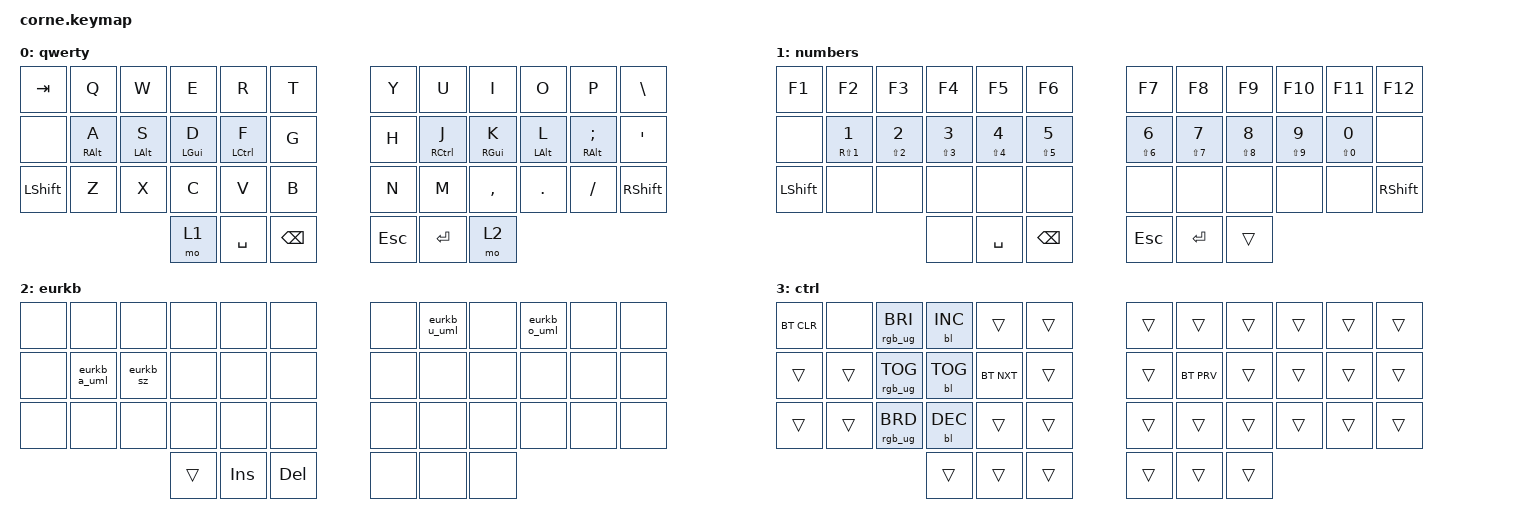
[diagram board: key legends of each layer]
#include <dt-bindings/zmk/mouse.h>
#include <behaviors.dtsi>
#include <dt-bindings/zmk/backlight.h>
#include <dt-bindings/zmk/bt.h>
#include <dt-bindings/zmk/keys.h>
#include <dt-bindings/zmk/rgb.h>

// Configure the under-glow LED strip

&led_strip { chain-length = <27>; };

/ {
    macros {
        eurkb_a_uml: a_uml {
            compatible = "zmk,behavior-macro";
            #binding-cells = <0>;
            bindings = <&macro_press>, <&kp RA(U) &kp A>, <&macro_release>;

            label = "A_UML";
        };

        eurkb_u_uml: eurkb_u_uml {
            compatible = "zmk,behavior-macro";
            #binding-cells = <0>;
            bindings = <&macro_press>, <&kp RA(U) &kp U>, <&macro_release>;

            label = "EURKB_U_UML";
        };

        eurkb_o_uml: eurkb_o_uml {
            compatible = "zmk,behavior-macro";
            #binding-cells = <0>;
            bindings = <&macro_press>, <&kp RA(U) &kp O>, <&macro_release>;

            label = "EURKB_O_UML";
        };

        eurkb_sz: eurkb_sz {
            compatible = "zmk,behavior-macro";
            #binding-cells = <0>;
            bindings = <&macro_press>, <&kp RA(U) &kp S>, <&macro_release>;

            label = "EURKB_SZ";
        };
    };

    keymap {
        compatible = "zmk,keymap";

        default_layer {
            // -----------------------------------------------------------------------------------------
            // |  TAB |  Q  |  W  |  E  |  R  |  T  |   |  Y  |  U   |  I  |  O  |  P  | BKSP |
            // | CTRL |  A  |  S  |  D  |  F  |  G  |   |  H  |  J   |  K  |  L  |  ;  |  '   |
            // | SHFT |  Z  |  X  |  C  |  V  |  B  |   |  N  |  M   |  ,  |  .  |  /  | ESC  |
            //                    | GUI | LWR | SPC |   | ENT | RSE  | ALT |

            label = "qwerty";
            bindings = <
&kp TAB    &kp Q       &kp W           &kp E           &kp R        &kp T            &kp Y    &kp U        &kp I       &kp O       &kp P          &kp BACKSLASH
&none      &mt RALT A  &mt LEFT_ALT S  &mt LEFT_GUI D  &mt LCTRL F  &kp G            &kp H    &mt RCTRL J  &mt RGUI K  &mt LALT L  &mt RALT SEMI  &kp SQT
&kp LSHFT  &kp Z       &kp X           &kp C           &kp V        &kp B            &kp N    &kp M        &kp COMMA   &kp DOT     &kp FSLH       &kp RSHIFT
                                       &mo 1           &kp SPACE    &kp BACKSPACE    &kp ESC  &kp ENTER    &mo 2
            >;
        };

        numbers {
            label = "numbers";
            bindings = <
&kp F1     &kp F2                     &kp F3                     &kp F4                     &kp F5                     &kp F6                       &kp F7                     &kp F8                     &kp F9                     &kp F10                    &kp F11                    &kp F12
&none      &mt RS(NUMBER_1) NUMBER_1  &mt LS(NUMBER_2) NUMBER_2  &mt LS(NUMBER_3) NUMBER_3  &mt LS(NUMBER_4) NUMBER_4  &mt LS(NUMBER_5) NUMBER_5    &mt LS(NUMBER_6) NUMBER_6  &mt LS(NUMBER_7) NUMBER_7  &mt LS(NUMBER_8) NUMBER_8  &mt LS(NUMBER_9) NUMBER_9  &mt LS(NUMBER_0) NUMBER_0  &none
&kp LSHFT  &none                      &none                      &none                      &none                      &none                        &none                      &none                      &none                      &none                      &none                      &kp RSHFT
                                                                 &none                      &kp SPACE                  &kp BACKSPACE                &kp ESC                    &kp ENTER                  &trans
            >;
        };

        eurkb {
            bindings = <
&none  &none         &none      &none   &none       &none      &none  &eurkb_u_uml  &none  &eurkb_o_uml  &none  &none
&none  &eurkb_a_uml  &eurkb_sz  &none   &none       &none      &none  &none         &none  &none         &none  &none
&none  &none         &none      &none   &none       &none      &none  &none         &none  &none         &none  &none
                                &trans  &kp INSERT  &kp DEL    &none  &none         &none
            >;

            label = "eurkb";
        };

        ctrl {
            bindings = <
&bt BT_CLR  &none   &rgb_ug RGB_BRI  &bl BL_INC  &trans      &trans    &trans  &trans      &trans  &trans  &trans  &trans
&trans      &trans  &rgb_ug RGB_TOG  &bl BL_TOG  &bt BT_NXT  &trans    &trans  &bt BT_PRV  &trans  &trans  &trans  &trans
&trans      &trans  &rgb_ug RGB_BRD  &bl BL_DEC  &trans      &trans    &trans  &trans      &trans  &trans  &trans  &trans
                                     &trans      &trans      &trans    &trans  &trans      &trans
            >;

            label = "ctrl";
        };
    };

    conditional_layers {
        compatible = "zmk,conditional-layers";

        ctrl_layer {
            if-layers = <1 2>;
            then-layer = <3>;
        };
    };
};
